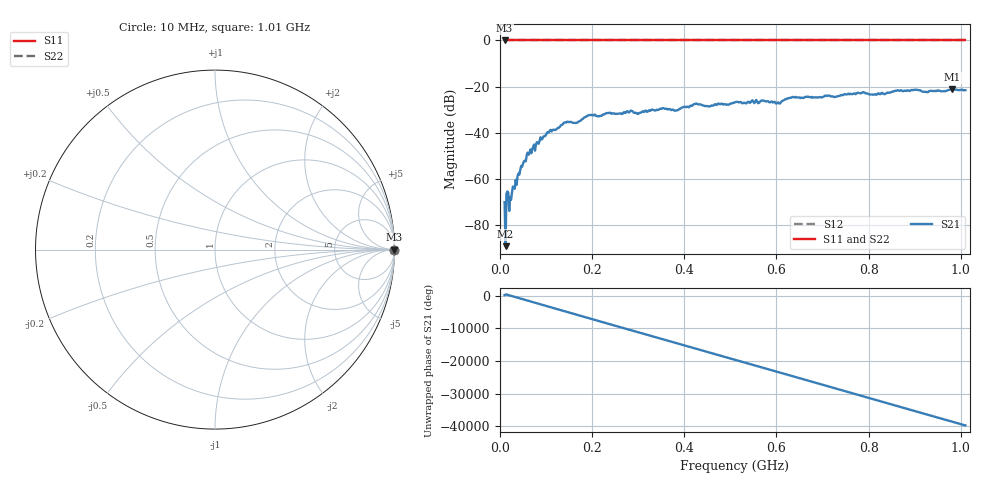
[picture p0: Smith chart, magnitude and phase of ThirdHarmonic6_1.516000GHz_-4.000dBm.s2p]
! 8/16/2025 5:52:20 PM
! C:\ANRITSUVNA\TEMP\TEMP.S2P
! CHANNEL.1
! TR.MEASUREMENT
! RAW.DATA
! RF.CORRECTION.OFF
! AVERAGING.OFF
! IF.BANDWIDTH: 5KHZ
! SWEEPTYPE:  FREQ.SWEEP(Linear)
! Reference Plane Port Info
! PORT:  PORT1  PORT2
! DISTANCE:  0  m  0  m
! TIME:  0  s  0  s
! PHASE.OFFSET:  0  deg.  0  deg.
! LOSS:  0  dB  0  dB
! REF.LOSS:  0  dB  0  dB
! REF.FREQ:  0  Hz  0  Hz
! Power Info
! POWER:  -20  dBm  -20  dBm
! EFF.POWER:  -20  dBm  -20  dBm
! SOURCE.ATTEN:  0  dB  0  dB
! TEST.ATTEN:  0  dB  0  dB
# GHZ S RI R 50.0
! FREQ.GHZ  S11RE  S11IM  S21RE  S21IM  S12RE  S12IM  S22RE  S22IM
!; PortSelection: Port_12
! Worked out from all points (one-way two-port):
!   501 points, 10 MHz to 1.01 GHz, reference 50 ohm
!   highest |S21| = -21.20 dB at 982 MHz (marker M1); lowest = -89.2 dB at 12 MHz (marker M2)
!   lowest |S11| = 0.0 dB at 10 MHz (marker M3)
!   |S11| at or under -10 dB: nowhere
!   |S22| runs from 0.0 to 0.0 dB; largest |S21 - S12| = 1.1
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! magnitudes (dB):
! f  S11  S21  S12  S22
! 10 MHz  0.0  -70.1  0.0  0.0
! 12 MHz  0.0  -89.2  0.0  0.0
! 16 MHz  0.0  -65.4  0.0  0.0
! 18 MHz  0.0  -65.9  0.0  0.0
! 24 MHz  0.0  -69.1  0.0  0.0
! 42 MHz  0.0  -58.2  0.0  0.0
! 62 MHz  0.0  -49.6  0.0  0.0
! 84 MHz  0.0  -44.8  0.0  0.0
! 106 MHz  0.0  -39.8  0.0  0.0
! 142 MHz  0.0  -35.6  0.0  0.0
! 178 MHz  0.0  -34.1  0.0  0.0
! 194 MHz  0.0  -32.4  0.0  0.0
! 344 MHz  0.0  -30.1  0.0  0.0
! 382 MHz  0.0  -30.4  0.0  0.0
! 424 MHz  0.0  -27.5  0.0  0.0
! 510 MHz  0.0  -26.8  0.0  0.0
! 604 MHz  0.0  -26.9  0.0  0.0
! 632 MHz  0.0  -24.8  0.0  0.0
! 678 MHz  0.0  -24.8  0.0  0.0
! 844 MHz  0.0  -22.7  0.0  0.0
! 982 MHz  0.0  -21.2  0.0  0.0
! 1.01 GHz  0.0  -21.5  0.0  0.0
